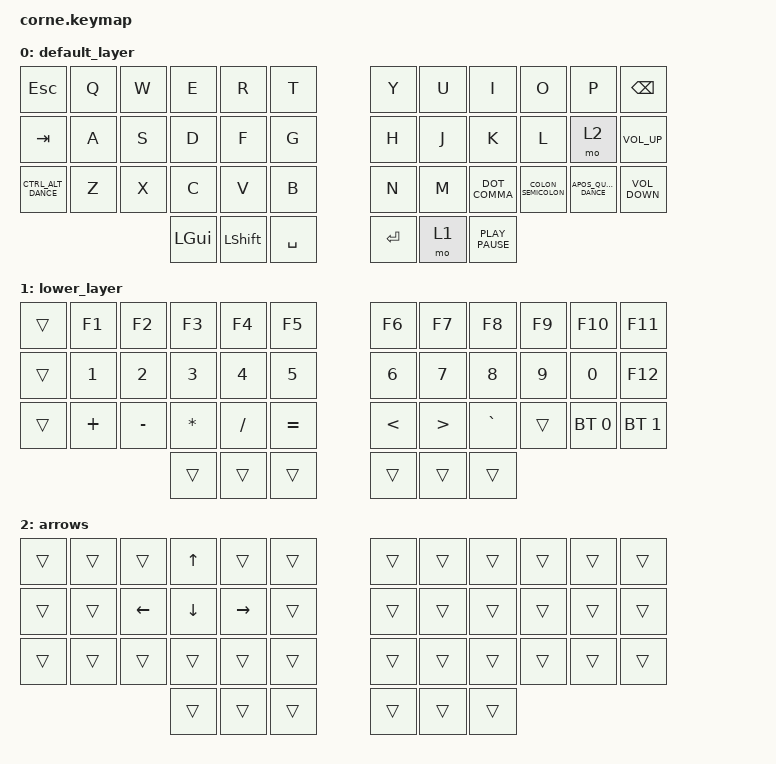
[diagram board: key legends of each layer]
/*
 * Copyright (c) 2020 The ZMK Contributors
 *
 * SPDX-License-Identifier: MIT
 */

#include <behaviors.dtsi>
#include <dt-bindings/zmk/bt.h>
#include <dt-bindings/zmk/keys.h>

/ {
    combos {
        compatible = "zmk,combos";

        Left-Parenthesis {
            bindings = <&kp LEFT_PARENTHESIS>;
            key-positions = <4 5>;
        };

        Right-Parenthesis {
            bindings = <&kp RIGHT_PARENTHESIS>;
            key-positions = <6 7>;
        };

        Left-Bracket {
            bindings = <&kp LEFT_BRACKET>;
            key-positions = <16 17>;
        };

        Right-Bracket {
            bindings = <&kp RIGHT_BRACKET>;
            key-positions = <18 19>;
        };

        Left-Brace {
            bindings = <&kp LEFT_BRACE>;
            key-positions = <28 29>;
        };

        Right-Brace {
            bindings = <&kp RIGHT_BRACE>;
            key-positions = <30 31>;
        };

        Mute {
            bindings = <&kp K_MUTE>;
            key-positions = <35 23>;
        };
    };

    behaviors {
        DOT_COMMA: DOT_COMMA {
            compatible = "zmk,behavior-tap-dance";
            label = "DOT_COMMA";
            #binding-cells = <0>;
            bindings = <&kp DOT>, <&kp COMMA>;

            tapping-term-ms = <250>;
        };

        COLON_SEMICOLON: COLON_SEMICOLON {
            compatible = "zmk,behavior-tap-dance";
            label = "COLON_SEMICOLON";
            #binding-cells = <0>;
            bindings = <&kp COLON>, <&kp SEMICOLON>;

            tapping-term-ms = <250>;
        };

        CTRL_ALT_DANCE: CTRL_ALT_DANCE {
            compatible = "zmk,behavior-tap-dance";
            label = "CTRL_ALT_DANCE";
            #binding-cells = <0>;
            bindings = <&kp LCTRL>, <&kp LEFT_ALT>;

            tapping-term-ms = <250>;
        };

        APOS_QUOTE_DANCE: APOS_QUOTE_DANCE {
            compatible = "zmk,behavior-tap-dance";
            label = "APOS_QUOTE_DANCE";
            #binding-cells = <0>;
            tapping-term-ms = <250>;
            bindings = <&kp APOSTROPHE>, <&kp DOUBLE_QUOTES>;
        };
    };

    keymap {
        compatible = "zmk,keymap";

        default_layer {
            // -----------------------------------------------------------------------------------------
            // |  TAB |  Q  |  W  |  E  |  R  |  T  |   |  Y  |  U   |  I  |  O  |  P  | BKSP |
            // | CTRL |  A  |  S  |  D  |  F  |  G  |   |  H  |  J   |  K  |  L  |  ;  |  '   |
            // | SHFT |  Z  |  X  |  C  |  V  |  B  |   |  N  |  M   |  ,  |  .  |  /  | ESC  |
            //                    | GUI | LWR | SPC |   | ENT | RSE  | ALT |

            bindings = <
&kp ESCAPE       &kp Q  &kp W  &kp E         &kp R           &kp T        &kp Y       &kp U  &kp I             &kp O             &kp P              &kp BACKSPACE
&kp TAB          &kp A  &kp S  &kp D         &kp F           &kp G        &kp H       &kp J  &kp K             &kp L             &mo 2              &kp C_VOLUME_UP
&CTRL_ALT_DANCE  &kp Z  &kp X  &kp C         &kp V           &kp B        &kp N       &kp M  &DOT_COMMA        &COLON_SEMICOLON  &APOS_QUOTE_DANCE  &kp C_VOLUME_DOWN
                               &kp LEFT_GUI  &kp LEFT_SHIFT  &kp SPACE    &kp RETURN  &mo 1  &kp K_PLAY_PAUSE
            >;
        };

        lower_layer {
            // -----------------------------------------------------------------------------------------
            // |  TAB |  1  |  2  |  3  |  4  |  5  |   |  6  |  7  |  8  |  9  |  0  | BKSP |
            // | BTCLR| BT1 | BT2 | BT3 | BT4 | BT5 |   | LFT | DWN |  UP | RGT |     |      |
            // | SHFT |     |     |     |     |     |   |     |     |     |     |     |      |
            //                    | GUI |     | SPC |   | ENT |     | ALT |

            bindings = <
&trans  &kp F1        &kp F2        &kp F3        &kp F4        &kp F5       &kp F6         &kp F7            &kp F8        &kp F9        &kp F10       &kp F11
&trans  &kp NUMBER_1  &kp NUMBER_2  &kp NUMBER_3  &kp NUMBER_4  &kp N5       &kp NUMBER_6   &kp NUMBER_7      &kp NUMBER_8  &kp NUMBER_9  &kp NUMBER_0  &kp F12
&trans  &kp PLUS      &kp MINUS     &kp ASTERISK  &kp SLASH     &kp EQUAL    &kp LESS_THAN  &kp GREATER_THAN  &kp GRAVE     &trans        &bt BT_SEL 0  &bt BT_SEL 1
                                    &trans        &trans        &trans       &trans         &trans            &trans
            >;
        };

        arrows {
            bindings = <
&trans  &trans  &trans    &kp UP    &trans     &trans    &trans  &trans  &trans  &trans  &trans  &trans
&trans  &trans  &kp LEFT  &kp DOWN  &kp RIGHT  &trans    &trans  &trans  &trans  &trans  &trans  &trans
&trans  &trans  &trans    &trans    &trans     &trans    &trans  &trans  &trans  &trans  &trans  &trans
                          &trans    &trans     &trans    &trans  &trans  &trans
            >;
        };
    };
};
